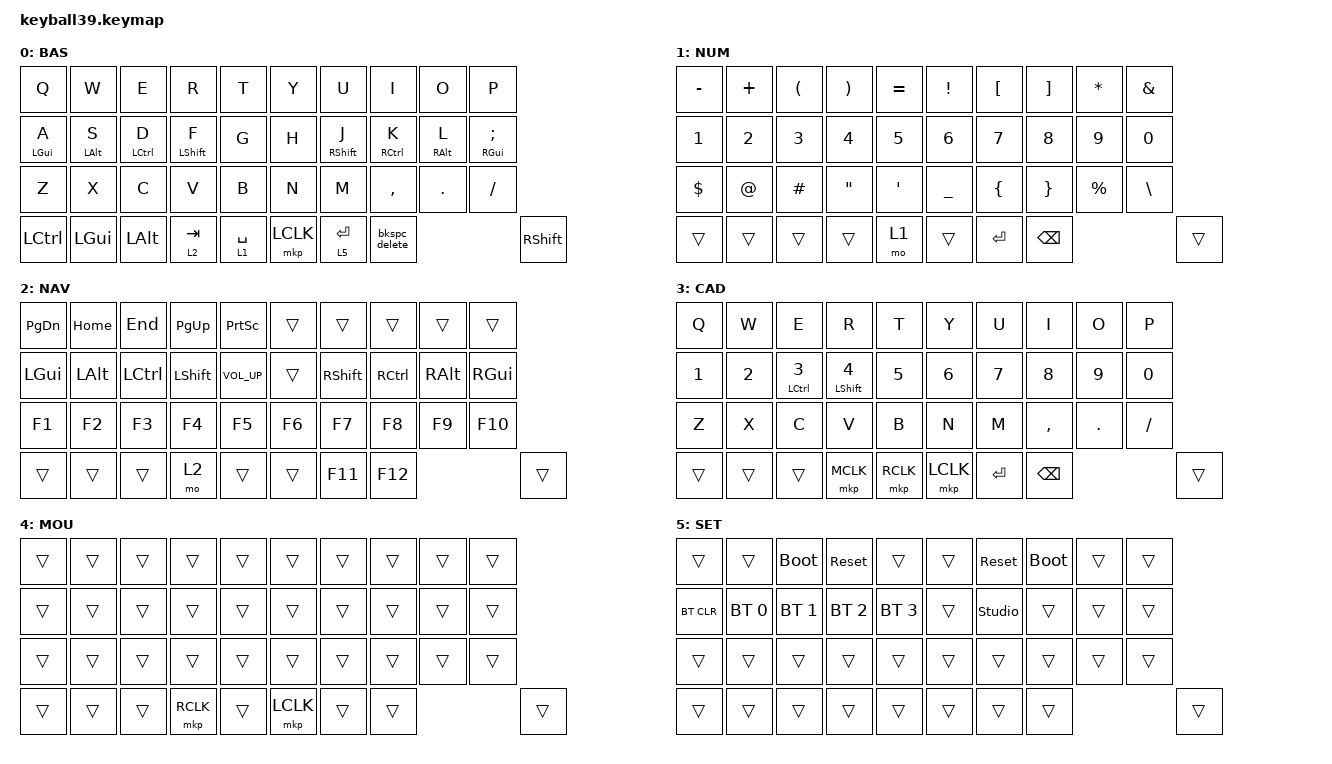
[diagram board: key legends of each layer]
#include <dt-bindings/zmk/mouse.h>
#include <behaviors/mouse_keys.dtsi>
#include <behaviors.dtsi>
#include <dt-bindings/zmk/bt.h>
#include <dt-bindings/zmk/keys.h>
#include <dt-bindings/zmk/pointing.h>

/* INPUT_REL_HWHEEL may be missing from older pointing.h — define defensively */
#ifndef INPUT_REL_HWHEEL
#define INPUT_REL_HWHEEL 0x06
#endif

#ifndef POINTING_DEVICE
#define POINTING_DEVICE trackball
#endif

&lt {
    tapping-term-ms = <150>;
    quick-tap-ms = <100>;
    require-prior-idle-ms = <75>;
    flavor = "balanced";
};

/ {
    /* input config for mouse move mode */

    trackball_listener {
        compatible = "zmk,input-behavior-listener";
        device = <&POINTING_DEVICE>;
        layers = <0 4>;
        evt-type = <INPUT_EV_REL>;
        x-input-code = <INPUT_REL_X>;
        y-input-code = <INPUT_REL_Y>;
        scale-multiplier = <1>;
        scale-divisor = <6>;

        // bindings = <&ib_toggle_layer 4>;
    };

    /* input config for snipe mode */

    trackball_snipe_listener {
        compatible = "zmk,input-behavior-listener";
        device = <&POINTING_DEVICE>;
        layers = <3>;
        evt-type = <INPUT_EV_REL>;
        x-input-code = <INPUT_REL_X>;
        y-input-code = <INPUT_REL_Y>;
        scale-multiplier = <1>;
        scale-divisor = <8>;
    };

    /* input config for mouse scroll mode — axis-locked (one tick = one axis) */

    trackball_scroll_listener {
        compatible = "zmk,input-behavior-listener";
        device = <&POINTING_DEVICE>;
        layers = <1>;
        evt-type = <INPUT_EV_REL>;
        x-input-code = <INPUT_REL_HWHEEL>;
        y-input-code = <INPUT_REL_WHEEL>;
        /* raw counts: no scale-divisor; `tick` is the only sensitivity knob */
        bindings = <&ib_scroll_axis_lock>;
    };

    trackball_arrow_listener {
        compatible = "zmk,input-behavior-listener";
        device = <&POINTING_DEVICE>;
        layers = <2>; // Працює тільки на шарі 2
        evt-type = <INPUT_EV_REL>;
        x-input-code = <INPUT_REL_X>;
        y-input-code = <INPUT_REL_Y>;
        scale-multiplier = <1>;
        scale-divisor = <1>;
        bindings = <&ib_arrow_nav>; // Використовуємо наш новий behavior
    };

    /* axis-locked scroll: accumulate raw counts, emit one tick on the
       dominant axis only (vertical priority), reset both accumulators */

    ib_scroll_axis_lock: ib_scroll_axis_lock {
        compatible = "zmk,input-behavior-scroll-axis-lock";
        #binding-cells = <0>;
        tick = <100>;
        lockout-ms = <250>;
    };

    /* adjust cooldown waiting period for mouse key layer after activated */

    ib_toggle_layer: ib_toggle_layer {
        compatible = "zmk,input-behavior-tog-layer";
        #binding-cells = <1>;
        time-to-live-ms = <500>;
    };

    ib_arrow_nav: ib_arrow_nav {
        compatible = "zmk,input-behavior-move-to-keypress";
        #binding-cells = <0>;
        threshold = <250>;
        x-threshold = < 200>;
        y-threshold = <300>;
        rate-limit-ms = <15>;
        reset-other-axis;
        bindings = <&kp RIGHT>, <&kp LEFT>, <&kp UP>, <&kp DOWN>;
    };

    // ╭──────┬──────┬──────┬──────┬──────╮  ╭──────┬──────┬──────┬──────┬──────╮
    //    00     01     02     03    04        05     06     07     08     09
    // ├──────┼──────┼──────┼──────┼──────┤  ├──────┼──────┼──────┼──────┼──────┤
    //    10     11     12     13    14        15     16     17     18     19
    // ├──────┼──────┼──────┼──────┼──────┤  ├──────┼──────┼──────┼──────┼──────┤
    //    20     21     22     23    24        25     26     27     28     29
    // ╰──────┴──────┼──────┼──────┼──────┤  ├──────┼──────┼──────┴──────┴──────╯
    //   30    31    32    33    34    35        36     37                   38
    // ╰──────┴──────┴──────┴──────┴──────╯  ╰──────┴──────╯              ╰──────╯

    #define BASE    0
    #define NUM     1
    #define NAV     2
    #define CAD     3
    #define MOU     4
    #define SET     5

    /* key-position groups for positional home-row mods (urob "timeless" style).
       Keyball39 is a plain 3x5 + 9-key bottom row (no &none borders). */
    #define KEYS_L 0 1 2 3 4 10 11 12 13 14 20 21 22 23 24
    #define KEYS_R 5 6 7 8 9 15 16 17 18 19 25 26 27 28 29
    #define THUMBS 30 31 32 33 34 35 36 37 38

    behaviors {
        hml: home_row_mod_left {
            compatible = "zmk,behavior-hold-tap";
            label = "HOME_ROW_MOD_LEFT";
            bindings = <&kp>, <&kp>;

            #binding-cells = <2>;
            flavor = "balanced";
            tapping-term-ms = <280>;
            quick-tap-ms = <175>;
            require-prior-idle-ms = <150>;
            hold-trigger-key-positions = <KEYS_R THUMBS>;
            hold-trigger-on-release;
        };

        hmr: home_row_mod_right {
            compatible = "zmk,behavior-hold-tap";
            label = "HOME_ROW_MOD_RIGHT";
            bindings = <&kp>, <&kp>;

            #binding-cells = <2>;
            flavor = "balanced";
            tapping-term-ms = <280>;
            quick-tap-ms = <175>;
            require-prior-idle-ms = <150>;
            hold-trigger-key-positions = <KEYS_L THUMBS>;
            hold-trigger-on-release;
        };

        /* Shift on F/J tuned separately: require-prior-idle removed so fast
           capitals don't force a tap, shorter term. Positional guard stays. */
        hsl: home_shift_left {
            compatible = "zmk,behavior-hold-tap";
            label = "HOME_SHIFT_LEFT";
            bindings = <&kp>, <&kp>;

            #binding-cells = <2>;
            flavor = "balanced";
            tapping-term-ms = <200>;
            quick-tap-ms = <175>;
            require-prior-idle-ms = <0>;
            hold-trigger-key-positions = <KEYS_R THUMBS>;
            hold-trigger-on-release;
        };

        hsr: home_shift_right {
            compatible = "zmk,behavior-hold-tap";
            label = "HOME_SHIFT_RIGHT";
            bindings = <&kp>, <&kp>;

            #binding-cells = <2>;
            flavor = "balanced";
            tapping-term-ms = <200>;
            quick-tap-ms = <175>;
            require-prior-idle-ms = <0>;
            hold-trigger-key-positions = <KEYS_L THUMBS>;
            hold-trigger-on-release;
        };

        bkspc_delete: bkspc_delete {
            compatible = "zmk,behavior-mod-morph";
            label = "BKSPC_DELETE";
            bindings = <&kp BACKSPACE>, <&kp DELETE>;

            #binding-cells = <0>;
            mods = <(MOD_LSFT|MOD_RCTL)>;
            keep-mods = <(MOD_RCTL)>;
        };
    };

    macros {
        cmb_lte: cmb_lte {
            compatible = "zmk,behavior-macro";
            #binding-cells = <0>;
            bindings = <&kp LT &kp EQUAL>;
        };
        cmb_gte: cmb_gte {
            compatible = "zmk,behavior-macro";
            #binding-cells = <0>;
            bindings = <&kp GT &kp EQUAL>;
        };
        cmb_arrow: cmb_arrow {
            compatible = "zmk,behavior-macro";
            #binding-cells = <0>;
            bindings = <&kp MINUS &kp GT>;
        };
    };

    combos {
        compatible = "zmk,combos";

        RMC {
            bindings = <&mkp RCLK>;
            key-positions = <13 35>;
            timeout-ms = <100>;
            require-prior-idle-ms = <25>;
            layers = <0>;
        };

        MMC {
            bindings = <&mkp MCLK>;
            key-positions = <35 12>;
            timeout-ms = <100>;
            require-prior-idle-ms = <25>;
            layers = <0>;
        };

        ctrl+shift+esc {
            bindings = <&kp RS(RC(ESCAPE))>;
            key-positions = <16 17 33>;
        };

        ctrl+alt+del {
            bindings = <&kp LA(LC(DELETE))>;
            key-positions = <11 12 37>;
        };

        cps_word {
            bindings = <&caps_word>;
            key-positions = <34 26 27>;
        };

        esc {
            bindings = <&kp ESCAPE>;
            key-positions = <20 21>;
        };

        /* arrow/comparison combos: <= on X+C (чс), >= on , . (юб) —
           symmetric bottom row; -> on A+; (фж). all rare in uk+en. */
        lte_combo {
            bindings = <&cmb_lte>;
            key-positions = <21 22>;
            timeout-ms = <40>;
            layers = <0>;
        };
        gte_combo {
            bindings = <&cmb_gte>;
            key-positions = <27 28>;
            timeout-ms = <40>;
            layers = <0>;
        };
        arrow_combo {
            bindings = <&cmb_arrow>;
            key-positions = <10 19>;
            timeout-ms = <40>;
            layers = <0>;
        };
    };

    keymap {
        compatible = "zmk,keymap";

        BASE {
            display-name = "BAS";
            bindings = <
&kp Q                     &kp W                     &kp E                     &kp R                          &kp T        &kp Y      &kp U                            &kp I                      &kp O                       &kp P
&hml LEFT_GUI A  &hml LEFT_ALT S  &hml LCTRL D  &hsl LEFT_SHIFT F  &kp G        &kp H      &hsr RIGHT_SHIFT J  &hmr RCTRL K  &hmr RIGHT_ALT L  &hmr RIGHT_GUI SEMI
&kp Z                     &kp X                     &kp C                     &kp V                          &kp B        &kp N      &kp M                            &kp COMMA                  &kp DOT                     &kp FSLH
&kp LCTRL  &kp LEFT_GUI  &kp LEFT_ALT              &lt 2 TAB                 &lt 1 SPACE  &mkp LCLK         &lt 5 RET    &bkspc_delete                                                                                      &kp RSHFT
            >;
        };

        NUM {
            display-name = "NUM";
            bindings = <
&kp MINUS     &kp PLUS      &kp LEFT_PARENTHESIS  &kp RIGHT_PARENTHESIS  &kp EQUAL    &kp EXCLAMATION  &kp LEFT_BRACKET  &kp RIGHT_BRACKET  &kp ASTERISK  &kp AMPERSAND
&kp NUMBER_1  &kp NUMBER_2  &kp NUMBER_3          &kp NUMBER_4           &kp N5       &kp NUMBER_6     &kp N7            &kp N8             &kp N9        &kp N0
&kp DOLLAR    &kp AT_SIGN   &kp HASH              &kp DOUBLE_QUOTES      &kp SQT      &kp UNDERSCORE   &kp LEFT_BRACE    &kp RIGHT_BRACE    &kp PERCENT   &kp BACKSLASH
&trans        &trans        &trans                 &trans                 &mo 1        &trans           &kp ENTER         &kp BSPC                                       &trans
            >;
        };

        NAV {
            display-name = "NAV";
            bindings = <
&kp PAGE_DOWN  &kp HOME      &kp END    &kp PG_UP       &kp PRINTSCREEN    &trans   &trans           &trans     &trans         &trans
&kp LEFT_GUI   &kp LEFT_ALT  &kp LCTRL  &kp LEFT_SHIFT  &kp C_VOLUME_UP    &trans   &kp RIGHT_SHIFT  &kp RCTRL  &kp RIGHT_ALT  &kp RIGHT_GUI
&kp F1         &kp F2        &kp F3     &kp F4          &kp F5             &kp F6   &kp F7           &kp F8     &kp F9         &kp F10
&trans         &trans        &trans     &mo 2           &trans             &trans   &kp F11          &kp F12                                  &trans
            >;
        };

        CAD {
            display-name = "CAD";
            bindings = <
&kp Q   &kp W         &kp E                            &kp R                                 &kp T        &kp Y      &kp U          &kp I      &kp O    &kp P
&kp N1  &kp NUMBER_2  &hml LCTRL NUMBER_3  &hsl LEFT_SHIFT NUMBER_4  &kp N5       &kp N6     &kp N7         &kp N8     &kp N9   &kp N0
&kp Z   &kp X         &kp C                            &kp V                                 &kp B        &kp N      &kp M          &kp COMMA  &kp DOT  &kp FSLH
&trans  &trans        &trans                            &mkp MCLK                             &mkp RCLK    &mkp LCLK  &kp ENTER      &kp BACKSPACE                &trans
            >;
        };

        MOU {
            display-name = "MOU";
            bindings = <
&trans  &trans  &trans     &trans  &trans       &trans  &trans  &trans  &trans  &trans
&trans  &trans  &trans     &trans  &trans       &trans  &trans  &trans  &trans  &trans
&trans  &trans  &trans     &trans  &trans       &trans  &trans  &trans  &trans  &trans
&trans  &trans  &trans     &mkp RCLK  &trans   &mkp LCLK  &trans  &trans              &trans
            >;
        };

        SET {
            display-name = "SET";
            bindings = <
&trans      &trans        &bootloader   &sys_reset    &trans          &trans  &sys_reset      &bootloader  &trans  &trans
&bt BT_CLR  &bt BT_SEL 0  &bt BT_SEL 1  &bt BT_SEL 2  &bt BT_SEL 3    &trans  &studio_unlock  &trans       &trans  &trans
&trans      &trans        &trans        &trans        &trans          &trans  &trans          &trans       &trans  &trans
&trans      &trans        &trans        &trans        &trans          &trans  &trans          &trans                      &trans
            >;
        };
    };
};
